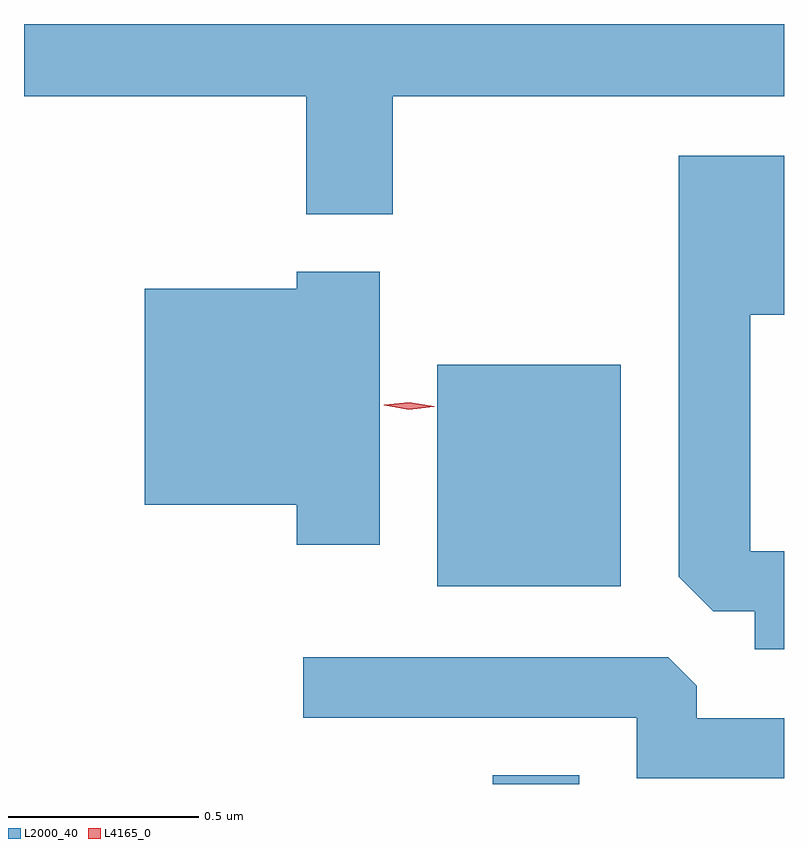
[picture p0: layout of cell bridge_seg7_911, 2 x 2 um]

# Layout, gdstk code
import gdstk
lib = gdstk.Library(unit=1e-6, precision=1e-09)
def R(c, l, rs):  # rectangles x0, y0, x1, y1
    for r in rs: c.add(gdstk.rectangle(r[:2], r[2:], *l))
def P(c, l, *ps):  # polygons
    for p in ps: c.add(gdstk.Polygon(p, *l))
L2000_40 = (2000, 40)
L4165_0 = (4165, 0)

bridge_seg7_911 = lib.new_cell('bridge_seg7_911')
R(bridge_seg7_911, L2000_40, [(222.841,1690.306,223.069,1690.329), (222.696,1690.826,223.179,1691.409)])
P(bridge_seg7_911, L2000_40, [(222.579,1692.116),(223.608,1692.116),(223.608,1692.306),(221.608,1692.306),(221.608,1692.116),(222.351,1692.116),(222.351,1691.806),(222.579,1691.806)],
  [(223.608,1690.919),(223.519,1690.919),(223.519,1691.541),(223.608,1691.541),(223.608,1691.959),(223.331,1691.959),(223.331,1690.852),(223.422,1690.761),(223.531,1690.761),(223.531,1690.661),(223.608,1690.661)],
  [(222.544,1691.654),(222.326,1691.654),(222.326,1691.609),(221.926,1691.609),(221.926,1691.041),(222.326,1691.041),(222.326,1690.936),(222.544,1690.936)],
  [(223.608,1690.479),(223.379,1690.479),(223.379,1690.564),(223.304,1690.639),(222.343,1690.639),(222.343,1690.481),(223.221,1690.481),(223.221,1690.321),(223.608,1690.321)])
P(bridge_seg7_911, L4165_0, [(222.621,1691.291),(222.556,1691.303),(222.555,1691.303),(222.556,1691.304),(222.622,1691.311),(222.688,1691.3),(222.688,1691.3),(222.688,1691.299)])

lib.write_gds('bridge_seg7_911.gds')
